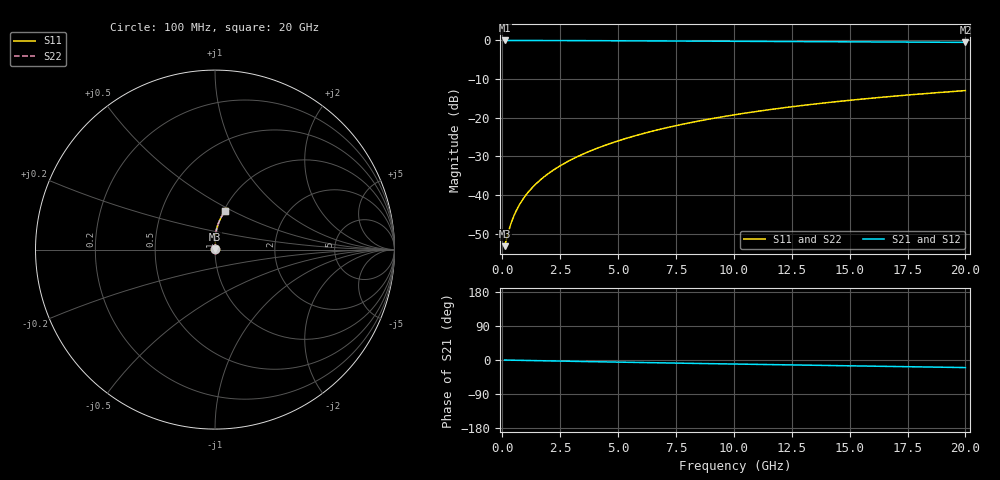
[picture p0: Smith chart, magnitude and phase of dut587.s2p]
! Touchstone file exported from HFSS 2024.1.0
!  File:  C:/UserFiles/LocalFiles/RDL_TSV_Batchsim/temp_RDL_top_587_1779682304.aedt
!  Generated:  12:14:15 PM May 25, 2026
!  Design:  RDL_top
!  Project:  temp_RDL_top_587_1779682304
!  Setup:  Setup1
!  Solution:  Sweep
! Variables:
!  dtsv = 10.80580581um
!  hbump = 3um
!  htsv = 50.57um
!  ldown = 100um
!  lrdl = 233.32um
!  p = 40
!  p1 = 56.61um
!  rhole = 1um
!  t = 450um
!  tdown = 3.915915916um
!  trdl = 2.13um
!  wdown = 15.38538539um
!  wrdl = 25.82um
# GHz S MA R 50.000000
! Terminal data exported
! Port[1] = Box2_T1
! Port[2] = Box2_T2
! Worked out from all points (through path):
!   200 points, 100 MHz to 20 GHz, reference 50 ohm
!   highest |S21| = -0.02 dB at 100 MHz (marker M1); lowest = -0.5 dB at 20 GHz (marker M2)
!   group delay of S21, straight-line fit = 2.74 ps
!   lowest |S11| = -53.2 dB at 100 MHz (marker M3), VSWR 1.00, Z = 50.2 + j0.103 ohm
!   |S11| at or under -10 dB: start of sweep to end of sweep
!   |S22| runs from -53.2 to -13.0 dB; largest |S21 - S12| = 4.2e-15
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0.1  0.002178 28.1  0.9981 -0.1  0.9981 -0.1  0.002178 28.1
! Gamma 0 0 0 0
! Port Impedance 50 0 50 0
0.3  0.003634 56.3  0.9979 -0.4  0.9979 -0.4  0.003634 56.3
0.4  0.004493 62.5  0.9978 -0.5  0.9978 -0.5  0.004493 62.5
0.5  0.005367 66.7  0.9977 -0.6  0.9977 -0.6  0.005367 66.7
0.6  0.006246 69.8  0.9976 -0.7  0.9976 -0.7  0.006246 69.8
0.8  0.008013 74.1  0.9974 -1.0  0.9974 -1.0  0.008013 74.1
1  0.009796 77.0  0.9972 -1.2  0.9972 -1.2  0.009796 77.0
1.2  0.0116 79.2  0.9969 -1.4  0.9969 -1.4  0.0116 79.2
1.4  0.01343 81.0  0.9967 -1.6  0.9967 -1.6  0.01343 81.0
1.7  0.01621 82.9  0.9962 -2.0  0.9962 -2.0  0.01621 82.9
2.2  0.02096 85.2  0.9954 -2.6  0.9954 -2.6  0.02096 85.2
2.8  0.02684 87.0  0.9942 -3.2  0.9942 -3.2  0.02684 87.0
3.5  0.03397 88.3  0.9926 -4.0  0.9926 -4.0  0.03397 88.3
4.2  0.04136 89.0  0.9908 -4.8  0.9908 -4.8  0.04136 89.0
5  0.05011 89.4  0.9886 -5.6  0.9886 -5.6  0.05011 89.4
5.9  0.06026 89.3  0.986 -6.6  0.986 -6.6  0.06026 89.3
6.8  0.07068 89.0  0.9833 -7.5  0.9833 -7.5  0.07067 89.0
8.4  0.0896 87.8  0.9785 -9.1  0.9785 -9.1  0.08959 87.8
10.1  0.1099 86.2  0.9734 -10.7  0.9734 -10.7  0.1099 86.2
13.4  0.1492 82.5  0.9636 -13.9  0.9636 -13.9  0.1492 82.5
16.7  0.1874 78.8  0.9536 -17.0  0.9536 -17.0  0.1874 78.8
20  0.2242 75.3  0.9431 -20.0  0.9431 -20.0  0.2242 75.3
